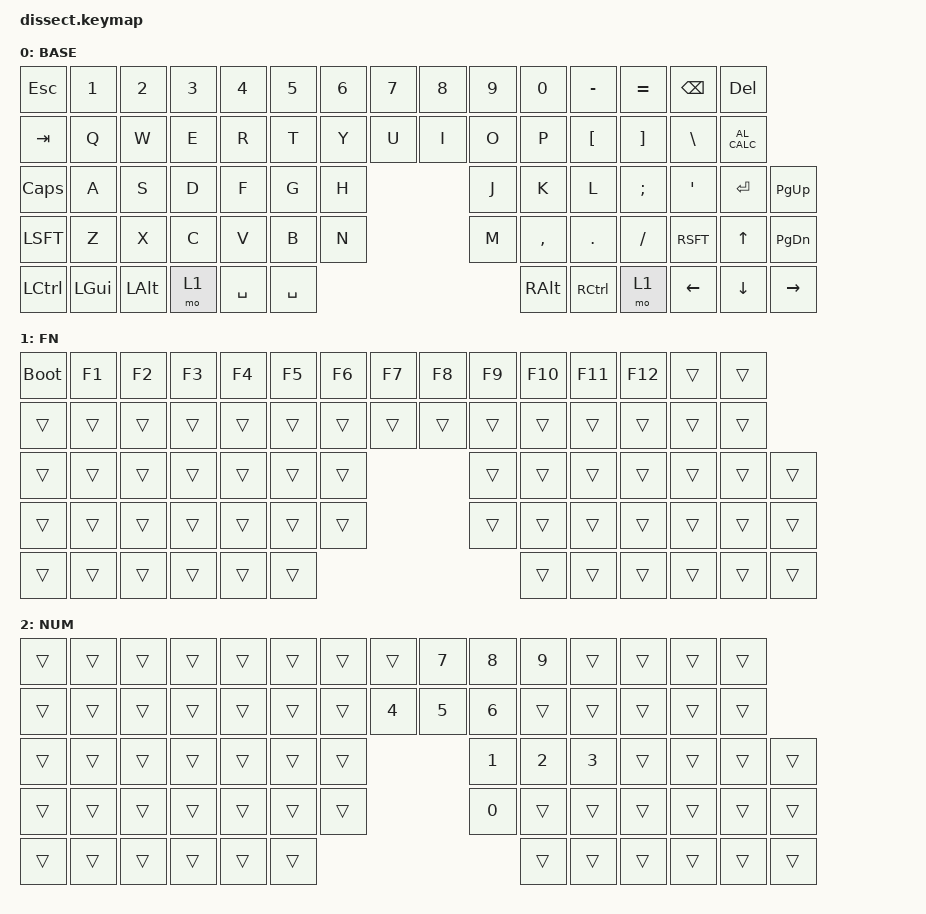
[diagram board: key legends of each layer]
#include <behaviors.dtsi>
#include <dt-bindings/zmk/keys.h>
#include <dt-bindings/zmk/bt.h>
#include <dt-bindings/zmk/matrix_transform.h>

/ {
    keymap {
        compatible = "zmk,keymap";

        base_layer {
            label = "BASE";
            bindings = <
                &kp ESC  &kp N1   &kp N2   &kp N3   &kp N4   &kp N5   &kp N6                              &kp N7    &kp N8    &kp N9    &kp N0    &kp MINUS &kp EQUAL &kp BSPC &kp DEL
                &kp TAB  &kp Q    &kp W    &kp E    &kp R    &kp T                           &kp Y    &kp U    &kp I    &kp O     &kp P     &kp LBKT  &kp RBKT  &kp BSLH &kp C_AL_CALC
                &kp CAPS &kp A    &kp S    &kp D    &kp F    &kp G                           &kp H    &kp J    &kp K    &kp L     &kp SEMI  &kp SQT             &kp RET  &kp PG_UP
                &kp LSFT &kp Z    &kp X    &kp C    &kp V    &kp B                           &kp N    &kp M    &kp COMMA &kp DOT  &kp FSLH            &kp RSFT &kp UP   &kp PG_DN
                &kp LCTL &kp LGUI &kp LALT &mo 1             &kp SPACE                                &kp SPACE         &kp RALT &kp RCTL  &mo 1    &kp LEFT &kp DOWN &kp RIGHT
            >;
        };

        fn_layer {
            label = "FN";
            bindings = <
                &bootloader &kp F1 &kp F2 &kp F3 &kp F4 &kp F5 &kp F6                      &kp F7  &kp F8  &kp F9  &kp F10 &kp F11 &kp F12 &trans &trans
                &trans &trans &trans &trans &trans &trans                                     &trans  &trans  &trans  &trans  &trans  &trans  &trans  &trans  &trans
                &trans &trans &trans &trans &trans &trans                                     &trans  &trans  &trans  &trans  &trans  &trans          &trans  &trans
                &trans &trans &trans &trans &trans &trans                                     &trans  &trans  &trans  &trans  &trans          &trans  &trans  &trans
                &trans &trans &trans &trans         &trans                                            &trans          &trans  &trans  &trans  &trans  &trans  &trans
            >;
        };

        num_layer {
            label = "NUM";
            bindings = <
                &trans &trans &trans &trans &trans &trans &trans                              &trans  &kp N7  &kp N8  &kp N9  &trans  &trans  &trans  &trans
                &trans &trans &trans &trans &trans &trans                                     &trans  &kp N4  &kp N5  &kp N6  &trans  &trans  &trans  &trans  &trans
                &trans &trans &trans &trans &trans &trans                                     &trans  &kp N1  &kp N2  &kp N3  &trans  &trans          &trans  &trans
                &trans &trans &trans &trans &trans &trans                                     &trans  &kp N0  &trans  &trans  &trans          &trans  &trans  &trans
                &trans &trans &trans &trans         &trans                                            &trans          &trans  &trans  &trans  &trans  &trans  &trans
            >;
        };
    };
};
